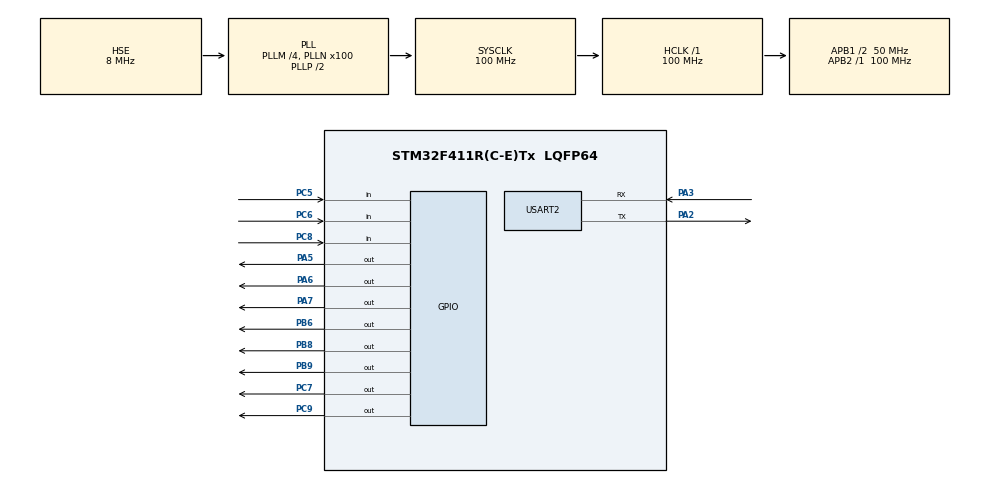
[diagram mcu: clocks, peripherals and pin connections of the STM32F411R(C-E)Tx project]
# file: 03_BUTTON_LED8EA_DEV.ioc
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Mcu.Family=STM32F4
Mcu.Name=STM32F411R(C-E)Tx
Mcu.Package=LQFP64
NVIC.PriorityGroup=NVIC_PRIORITYGROUP_4
NVIC.USART2_IRQn=true\:0\:0\:false\:false\:true\:true\:true\:true
PA13.Mode=Serial_Wire
PA13.Signal=SYS_JTMS-SWDIO
PA14.Mode=Serial_Wire
PA14.Signal=SYS_JTCK-SWCLK
PA2.Mode=Asynchronous
PA2.Signal=USART2_TX
PA3.Mode=Asynchronous
PA3.Signal=USART2_RX
PA5.Signal=GPIO_Output
PA6.Signal=GPIO_Output
PA7.Signal=GPIO_Output
PB6.Signal=GPIO_Output
PB8.Signal=GPIO_Output
PB9.Signal=GPIO_Output
PC5.Signal=GPIO_Input
PC6.Signal=GPIO_Input
PC7.Signal=GPIO_Output
PC8.GPIO_Mode=GPIO_MODE_INPUT
PC8.Signal=GPIO_Input
PC9.Signal=GPIO_Output
PH0\ -\ OSC_IN.Mode=HSE-External-Oscillator
PH0\ -\ OSC_IN.Signal=RCC_OSC_IN
PH1\ -\ OSC_OUT.Mode=HSE-External-Oscillator
PH1\ -\ OSC_OUT.Signal=RCC_OSC_OUT
ProjectManager.HeapSize=0x200
ProjectManager.StackSize=0x400
ProjectManager.TargetToolchain=STM32CubeIDE
RCC.48MHZClocksFreq_Value=50000000
RCC.AHBFreq_Value=100000000
RCC.APB1CLKDivider=RCC_HCLK_DIV2
RCC.APB1Freq_Value=50000000
RCC.APB1TimFreq_Value=100000000
RCC.APB2Freq_Value=100000000
RCC.APB2TimFreq_Value=100000000
RCC.CortexFreq_Value=100000000
RCC.HCLKFreq_Value=100000000
RCC.HSE_VALUE=8000000
RCC.HSI_VALUE=16000000
RCC.LSE_VALUE=32768
RCC.PLLM=4
RCC.PLLN=100
RCC.PLLSourceVirtual=RCC_PLLSOURCE_HSE
RCC.SYSCLKFreq_VALUE=100000000
RCC.SYSCLKSource=RCC_SYSCLKSOURCE_PLLCLK
RCC.VCOOutputFreq_Value=200000000
USART2.VirtualMode=VM_ASYNC
board=custom

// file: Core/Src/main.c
/* USER CODE BEGIN Header */
/**
  ******************************************************************************
  * @file           : main.c
  * @brief          : Main program body
  ******************************************************************************
  * @attention
  *
  * Copyright (c) 2025 STMicroelectronics.
  * All rights reserved.
  *
  * This software is licensed under terms that can be found in the LICENSE file
  * in the root directory of this software component.
  * If no LICENSE file comes with this software, it is provided AS-IS.
  *
  ******************************************************************************
  */
/* USER CODE END Header */
#include "main.h"
#include "usart.h"
#include "gpio.h"

/* USER CODE BEGIN Includes */

#include "led.h"
#include "button.h"

/* USER CODE END Includes */

/* USER CODE BEGIN PD */

// 버튼 상태 추적을 위한 정의
#define BUTTON_COUNT           3     // 사용 버튼 수
#define DEBOUNCE_DELAY_MS      50    // 디바운싱 시간 (ms)
#define LONG_PRESS_DELAY_MS    1000  // 길게 누름 인식 시간 (1초)
#define REPEAT_INTERVAL_MS     200   // 길게 누를 때 반복 간격 (200ms)

// 버튼 이벤트 타입
typedef enum {
  BUTTON_NONE = 0,    // 이벤트 없음
  BUTTON_PRESSED,     // 버튼 눌림 상태
  BUTTON_RELEASED,    // 버튼 뗌 상태
  BUTTON_LONG_PRESS,  // 버튼 길게 누름 상태
  BUTTON_REPEAT       // 길게 누를 때 반복 이벤트
} ButtonEvent_t;

// 버튼 상태 구조체
typedef struct {
  uint8_t currentState;          // 현재 상태 (0: 안눌림, 1: 눌림)
  uint8_t lastState;             // 이전 상태
  uint32_t lastChangeTime;       // 마지막 상태 변화 시간
  uint32_t lastRepeatTime;       // 마지막 반복 이벤트 시간
  ButtonEvent_t event;           // 현재 이벤트
  uint8_t longPressDetected;     // 길게 누름 감지 플래그
} ButtonState_t;

/* USER CODE END PD */

/* USER CODE BEGIN PV */

volatile uint8_t rxData; // UART 수신 버퍼로 사용 (ISR에 의해 변경됨)
volatile uint8_t rxAFlag = 0; // 'a' 명령어 처리를 위한 플래그
volatile uint8_t rxBFlag = 0; // 'b' 명령어 처리를 위한 플래그
volatile uint8_t rxCFlag = 0; // 기존 플래그, volatile로 변경

// 버튼 상태 배열
ButtonState_t buttonStates[BUTTON_COUNT] = {0};

/* USER CODE END PV */

void SystemClock_Config(void);
/* USER CODE BEGIN PFP */

//void HAL_UART_RxCpltCallback(UART_HandleTypeDef *huart)
//{
//  if (huart->Instance == USART2)
//  {
//    // 현재 수신된 문자는 rxData에 저장되어 있습니다.
//    // 다음 문자 수신을 위해 UART 수신 인터럽트를 다시 활성화합니다.
//    // 가능한 한 빨리 인터럽트를 재활성화하는 것이 좋습니다.
//    HAL_UART_Receive_IT(&huart2, (uint8_t*)&rxData, 1); // 다음 문자를 저장할 버퍼로 volatile rxData 사용
//
//    // 방금 수신된 문자 처리
//    if (rxData == 'a'){
//      uint8_t _text[] = "LED ON\n";
//      HAL_UART_Transmit(&huart2, _text, sizeof(_text), 100);
//      rxAFlag = 1; // 'a' 플래그 설정
//    }
//    else if (rxData == 'b'){
//      uint8_t _text[] = "LED OFF\nd";
//      HAL_UART_Transmit(&huart2, _text, sizeof(_text), 100);
//      rxBFlag = 1; // 'b' 플래그 설정
//    }
//    else if (rxData == 'c'){
//      uint8_t _text[] = "LED LEFT SHIFT\n";
//      HAL_UART_Transmit(&huart2, _text, sizeof(_text), 100);
//      rxCFlag = 1; // 'c' 플래그 설정
//    }
//  }
//}

/* USER CODE END PFP */

/* USER CODE BEGIN 0 */

/**
 * @brief 버튼 상태를 업데이트하고 이벤트를 반환
 * @param btnIndex 버튼 인덱스 (0-2)
 * @return 버튼 이벤트
 */
ButtonEvent_t updateButtonState(uint8_t btnIndex)
{
  if (btnIndex >= BUTTON_COUNT) return BUTTON_NONE;

  uint8_t currentRead = buttonGetPressed(btnIndex);
  ButtonState_t *btn = &buttonStates[btnIndex];

  // 현재 시간 읽기
  uint32_t currentTime = HAL_GetTick();

  // 디바운싱 - 마지막 변경 후 일정 시간이 지나야 상태 변경 허용
  if (currentTime - btn->lastChangeTime < DEBOUNCE_DELAY_MS) {
    return btn->event;
  }

  // 상태 변화 감지
  if (currentRead != btn->lastState) {
    btn->lastState = currentRead;
    btn->lastChangeTime = currentTime;

    if (currentRead) {
      // 상승 엣지(Rising edge): 버튼 눌림
      btn->event = BUTTON_PRESSED;
      btn->longPressDetected = 0; // 길게 누름 상태 초기화
      return BUTTON_PRESSED;
    } else {
      // 하강 엣지(Falling edge): 버튼 뗌
      btn->event = BUTTON_RELEASED;
      btn->longPressDetected = 0; // 길게 누름 상태 초기화
      return BUTTON_RELEASED;
    }
  }

  // 버튼이 계속 눌려있는 상태
  if (currentRead) {
    // 길게 누름 감지 (처음 한 번만)
    if (!btn->longPressDetected &&
        (currentTime - btn->lastChangeTime >= LONG_PRESS_DELAY_MS)) {
      btn->longPressDetected = 1;
      btn->lastRepeatTime = currentTime;
      btn->event = BUTTON_LONG_PRESS;
      return BUTTON_LONG_PRESS;
    }

    // 길게 누른 후 반복 이벤트 생성
    if (btn->longPressDetected &&
        (currentTime - btn->lastRepeatTime >= REPEAT_INTERVAL_MS)) {
      btn->lastRepeatTime = currentTime;
      btn->event = BUTTON_REPEAT;
      return BUTTON_REPEAT;
    }

    return btn->event;
  }

  // 상태 변화가 없고 버튼이 눌려있지 않으면 이벤트 없음
  btn->event = BUTTON_NONE;
  return BUTTON_NONE;
}

/* USER CODE END 0 */

int main(void)
{

  /* MCU Configuration--------------------------------------------------------*/

  /* Reset of all peripherals, Initializes the Flash interface and the Systick. */
  HAL_Init();

  /* Configure the system clock */
  SystemClock_Config();

  /* Initialize all configured peripherals */
  MX_GPIO_Init();
  MX_USART2_UART_Init();
  /* USER CODE BEGIN 2 */

  HAL_UART_Receive_IT(&huart2, (uint8_t*)&rxData, 1);

  // 버튼 상태 배열 추가
  ButtonState_t buttonStates[BUTTON_COUNT] = {0};

  /* USER CODE END 2 */

  /* Infinite loop */
  /* USER CODE BEGIN WHILE */
  while (1)
  {
  // 버튼 0 (LED ON) 처리
  switch (updateButtonState(0)) {
    case BUTTON_PRESSED:
      ledOn(8);
      {
        uint8_t _text[] = "LED ON\n";
        HAL_UART_Transmit(&huart2, _text, sizeof(_text), 100);
      }
      break;

    case BUTTON_LONG_PRESS:
      {
        uint8_t _text[] = "Button 0 LONG PRESS - All LEDs Blink\n";
        HAL_UART_Transmit(&huart2, _text, sizeof(_text), 100);
        // 예: 모든 LED 깜빡이기 시작
        ledBlink(8);
      }
      break;

    case BUTTON_RELEASED:
      // 필요시 버튼 뗄 때 동작 구현
      break;

    case BUTTON_REPEAT:
      // 길게 누를 때 반복 동작 (예: LED 밝기 증가 등)
      break;

    default:
      break;
  }

  // 버튼 1 (LED OFF) 처리
  switch (updateButtonState(1)) {
    case BUTTON_PRESSED:
      ledOff(8);
      {
        uint8_t _text[] = "LED OFF\n";
        HAL_UART_Transmit(&huart2, _text, sizeof(_text), 100);
      }
      break;

    case BUTTON_LONG_PRESS:
      {
        uint8_t _text[] = "Button 1 LONG PRESS - Right Shift Pattern\n";
        HAL_UART_Transmit(&huart2, _text, sizeof(_text), 100);
        // 예: LED 오른쪽 시프트 패턴
        // ledRightShift(8); // 함수가 구현되어 있다면
      }
      break;

    default:
      break;
  }

  // 버튼 2 (LED FLOWER PATTERN) 처리
  switch (updateButtonState(2)) {
    case BUTTON_PRESSED:
      ledFlower(8);
      {
        uint8_t _text[] = "LED FLOWER PATTERN\n";
        HAL_UART_Transmit(&huart2, _text, sizeof(_text), 100);
      }
      break;

    case BUTTON_LONG_PRESS:
      {
        uint8_t _text[] = "Button 2 LONG PRESS - Special Pattern\n";
        HAL_UART_Transmit(&huart2, _text, sizeof(_text), 100);
        // 예: 특별한 LED 패턴
        ledLeftShift(8);
      }
      break;

    case BUTTON_REPEAT:
      // 반복 누르면 패턴 속도 증가와 같은 기능 구현 가능
      break;

    default:
      break;
  }

//    if(buttonGetPressed(0))
//    {
//      ledOn(8);
//      uint8_t _text[] = "LED ON\n";
//      HAL_UART_Transmit(&huart2, _text, sizeof(_text), 100);
//    }
//
//    if(buttonGetPressed(1))
//    {
//      uint8_t _text[] = "LED OFF\n";
//      HAL_UART_Transmit(&huart2, _text, sizeof(_text), 100);
//      ledOff(8);
//    }
//
//    if(buttonGetPressed(2))
//    {
//      uint8_t _text[] = "LED FLOWER PATTERN\n";
//      HAL_UART_Transmit(&huart2, _text, sizeof(_text), 100);
//      ledFlower(8);
//    }

//    if (rxAFlag == 1){
//      ledOn(8);
//      rxAFlag = 0; // 플래그 클리어
//    }
//    else if (rxBFlag == 1){
//      ledOff(8);
//      rxBFlag = 0; // 플래그 클리어
//    }
//    else if (rxCFlag == 1){
//      ledLeftShift(8);
//      rxCFlag = 0; // 플래그 클리어
//    }

    /* USER CODE END WHILE */

  }
}

void SystemClock_Config(void)
{
  RCC_OscInitTypeDef RCC_OscInitStruct = {0};
  RCC_ClkInitTypeDef RCC_ClkInitStruct = {0};

  /** Configure the main internal regulator output voltage
  */
  __HAL_RCC_PWR_CLK_ENABLE();
  __HAL_PWR_VOLTAGESCALING_CONFIG(PWR_REGULATOR_VOLTAGE_SCALE1);

  /** Initializes the RCC Oscillators according to the specified parameters
  * in the RCC_OscInitTypeDef structure.
  */
  RCC_OscInitStruct.OscillatorType = RCC_OSCILLATORTYPE_HSE;
  RCC_OscInitStruct.HSEState = RCC_HSE_ON;
  RCC_OscInitStruct.PLL.PLLState = RCC_PLL_ON;
  RCC_OscInitStruct.PLL.PLLSource = RCC_PLLSOURCE_HSE;
  RCC_OscInitStruct.PLL.PLLM = 4;
  RCC_OscInitStruct.PLL.PLLN = 100;
  RCC_OscInitStruct.PLL.PLLP = RCC_PLLP_DIV2;
  RCC_OscInitStruct.PLL.PLLQ = 4;
  if (HAL_RCC_OscConfig(&RCC_OscInitStruct) != HAL_OK)
  {
    Error_Handler();
  }

  /** Initializes the CPU, AHB and APB buses clocks
  */
  RCC_ClkInitStruct.ClockType = RCC_CLOCKTYPE_HCLK|RCC_CLOCKTYPE_SYSCLK
                              |RCC_CLOCKTYPE_PCLK1|RCC_CLOCKTYPE_PCLK2;
  RCC_ClkInitStruct.SYSCLKSource = RCC_SYSCLKSOURCE_PLLCLK;
  RCC_ClkInitStruct.AHBCLKDivider = RCC_SYSCLK_DIV1;
  RCC_ClkInitStruct.APB1CLKDivider = RCC_HCLK_DIV2;
  RCC_ClkInitStruct.APB2CLKDivider = RCC_HCLK_DIV1;

  if (HAL_RCC_ClockConfig(&RCC_ClkInitStruct, FLASH_LATENCY_3) != HAL_OK)
  {
    Error_Handler();
  }
}

void Error_Handler(void)
{
  __disable_irq();
  while (1)
  {
  }
}
